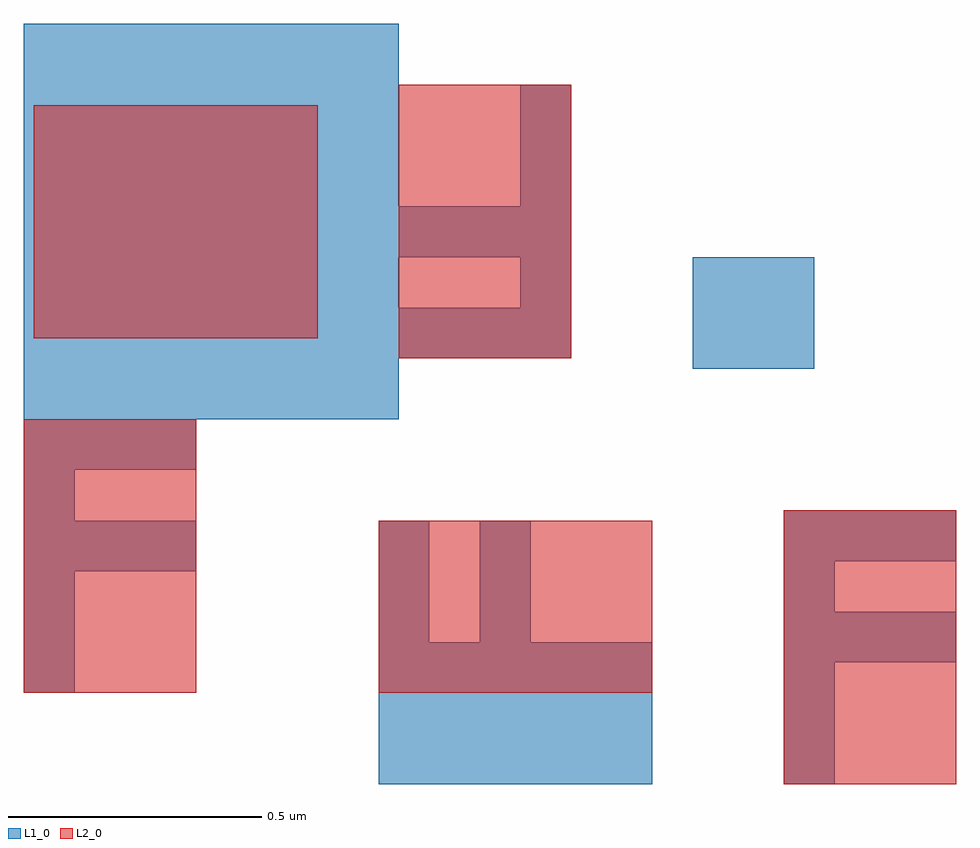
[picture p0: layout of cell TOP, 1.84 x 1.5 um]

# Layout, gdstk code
from math import pi, radians
import gdstk
lib = gdstk.Library(unit=1e-6, precision=1e-09)
def R(c, l, rs):  # rectangles x0, y0, x1, y1
    for r in rs: c.add(gdstk.rectangle(r[:2], r[2:], *l))
def P(c, l, *ps):  # polygons
    for p in ps: c.add(gdstk.Polygon(p, *l))
L1_0 = (1, 0)
L2_0 = (2, 0)

c_a = lib.new_cell('A')
R(c_a, L1_0, [(0.06,0.08,0.16,0.32)])
P(c_a, L1_0, [(0.06,0.32),(0.06,0.62),(0.4,0.62),(0.4,0.52),(0.16,0.52),(0.16,0.42),(0.4,0.42),(0.4,0.32),(0.16,0.32)])
R(c_a, L2_0, [(0.06,0.08,0.4,0.62)])

c_b = lib.new_cell('B')
R(c_b, L1_0, [(0,0,0.54,0.18)])

top = lib.new_cell('TOP')
R(top, L1_0, [(-0.5,0.86,0.24,1.64), (0.82,0.96,1.06,1.18), (0.82,0.96,1.06,1.18)])
R(top, L2_0, [(-0.48,1.02,0.08,1.48)])
r = gdstk.Reference(c_a, (-0.56,0.24)); r.repetition = gdstk.Repetition(1, 1, v1=(0,0), v2=(0,0)); top.add(r)
r = gdstk.Reference(c_a, (0.82,0.26), rotation=pi/2); r.repetition = gdstk.Repetition(1, 1, v1=(0,0), v2=(0,0)); top.add(r)
r = gdstk.Reference(c_a, (0.64,1.6), rotation=pi); r.repetition = gdstk.Repetition(1, 1, v1=(0,0), v2=(0,0)); top.add(r)
top.add(gdstk.Reference(c_b, (0.2,0.14)))
r = gdstk.Reference(c_a, (0.94,0.06)); r.repetition = gdstk.Repetition(1, 1, v1=(0,0), v2=(0,0)); top.add(r)

lib.write_gds('TOP.gds')
